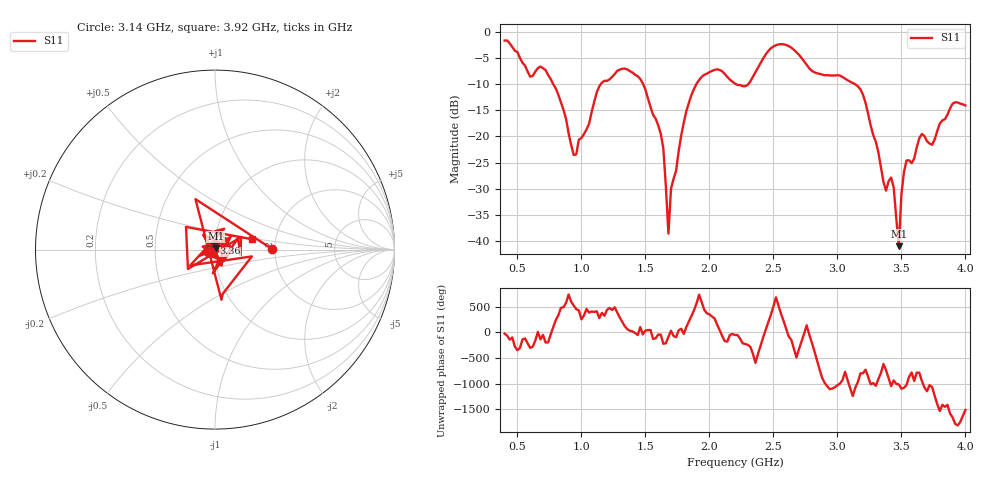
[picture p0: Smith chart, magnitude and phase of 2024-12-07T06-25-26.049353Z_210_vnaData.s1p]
!Created with skrf (http://scikit-rf.org).
# Hz S RI R 50.0
!freq ReS11 ImS11
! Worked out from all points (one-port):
!   181 points, 400 MHz to 4 GHz, reference 50 ohm
!   lowest |S11| = -41.0 dB at 3.48 GHz (marker M1), VSWR 1.02, Z = 50.4 + j0.802 ohm
!   |S11| at or under -10 dB: 779.6 MHz to 1.152 GHz (372.4 MHz wide, 38.6 % of centre); 1.482 GHz to 1.898 GHz (416.3 MHz wide, 24.6 % of centre); 3.138 GHz to end of sweep (the widest 3 of 4)
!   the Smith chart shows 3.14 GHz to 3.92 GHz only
!   S11 on the Smith chart (normalised r, x): 3.14 GHz: 1.92, +0.02; 3.36 GHz: 0.98, +0.07; 3.92 GHz: 1.50, +0.18
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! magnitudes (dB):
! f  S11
! 400 MHz  -1.7
! 600 MHz  -8.6
! 720 MHz  -7.3
! 860 MHz  -14.9
! 960 MHz  -23.4
! 1.14 GHz  -10.4
! 1.3 GHz  -7.2
! 1.46 GHz  -9.0
! 1.62 GHz  -19.5
! 1.64 GHz  -22.3
! 1.68 GHz  -38.6
! 1.7 GHz  -30.0
! 1.76 GHz  -22.8
! 1.84 GHz  -13.6
! 1.94 GHz  -8.6
! 2.2 GHz  -9.9
! 2.5 GHz  -2.8
! 2.66 GHz  -3.4
! 3.1 GHz  -9.5
! 3.14 GHz  -10.0
! 3.22 GHz  -13.6
! 3.36 GHz  -28.7
! 3.44 GHz  -29.8
! 3.48 GHz  -41.0
! 3.52 GHz  -26.8
! 3.56 GHz  -24.6
! 3.92 GHz  -13.5
! 4 GHz  -14.1
